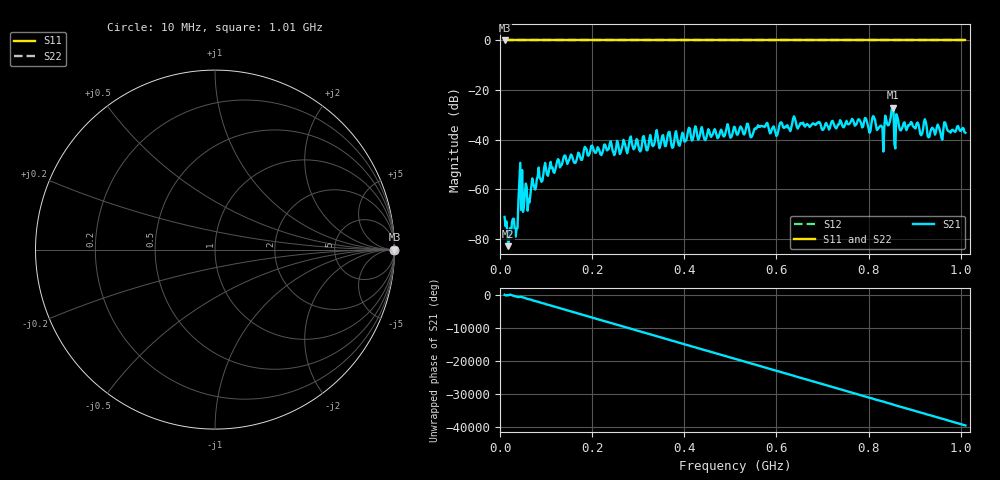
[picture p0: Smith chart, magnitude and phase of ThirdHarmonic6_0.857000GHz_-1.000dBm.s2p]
! 8/16/2025 4:21:10 AM
! C:\ANRITSUVNA\TEMP\TEMP.S2P
! CHANNEL.1
! TR.MEASUREMENT
! RAW.DATA
! RF.CORRECTION.OFF
! AVERAGING.OFF
! IF.BANDWIDTH: 5KHZ
! SWEEPTYPE:  FREQ.SWEEP(Linear)
! Reference Plane Port Info
! PORT:  PORT1  PORT2
! DISTANCE:  0  m  0  m
! TIME:  0  s  0  s
! PHASE.OFFSET:  0  deg.  0  deg.
! LOSS:  0  dB  0  dB
! REF.LOSS:  0  dB  0  dB
! REF.FREQ:  0  Hz  0  Hz
! Power Info
! POWER:  -20  dBm  -20  dBm
! EFF.POWER:  -20  dBm  -20  dBm
! SOURCE.ATTEN:  0  dB  0  dB
! TEST.ATTEN:  0  dB  0  dB
# GHZ S RI R 50.0
! FREQ.GHZ  S11RE  S11IM  S21RE  S21IM  S12RE  S12IM  S22RE  S22IM
!; PortSelection: Port_12
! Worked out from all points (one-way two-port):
!   501 points, 10 MHz to 1.01 GHz, reference 50 ohm
!   highest |S21| = -27.12 dB at 852 MHz (marker M1); lowest = -83.0 dB at 18 MHz (marker M2)
!   lowest |S11| = 0.0 dB at 10 MHz (marker M3)
!   |S11| at or under -10 dB: nowhere
!   |S22| runs from 0.0 to 0.0 dB; largest |S21 - S12| = 1
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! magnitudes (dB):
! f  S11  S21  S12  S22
! 10 MHz  0.0  -71.2  0.0  0.0
! 18 MHz  0.0  -83.0  0.0  0.0
! 36 MHz  0.0  -75.9  0.0  0.0
! 44 MHz  0.0  -49.4  0.0  0.0
! 50 MHz  0.0  -69.2  0.0  0.0
! 64 MHz  0.0  -65.4  0.0  0.0
! 70 MHz  0.0  -55.7  0.0  0.0
! 98 MHz  0.0  -49.4  0.0  0.0
! 178 MHz  0.0  -48.2  0.0  0.0
! 344 MHz  0.0  -41.3  0.0  0.0
! 510 MHz  0.0  -35.1  0.0  0.0
! 678 MHz  0.0  -33.6  0.0  0.0
! 802 MHz  0.0  -37.3  0.0  0.0
! 810 MHz  0.0  -30.5  0.0  0.0
! 830 MHz  0.0  -35.3  0.0  0.0
! 844 MHz  0.0  -34.1  0.0  0.0
! 852 MHz  0.0  -27.1  0.0  0.0
! 860 MHz  0.0  -29.8  0.0  0.0
! 864 MHz  0.0  -32.1  0.0  0.0
! 922 MHz  0.0  -31.8  0.0  0.0
! 932 MHz  0.0  -38.9  0.0  0.0
! 1.01 GHz  0.0  -37.3  0.0  0.0
